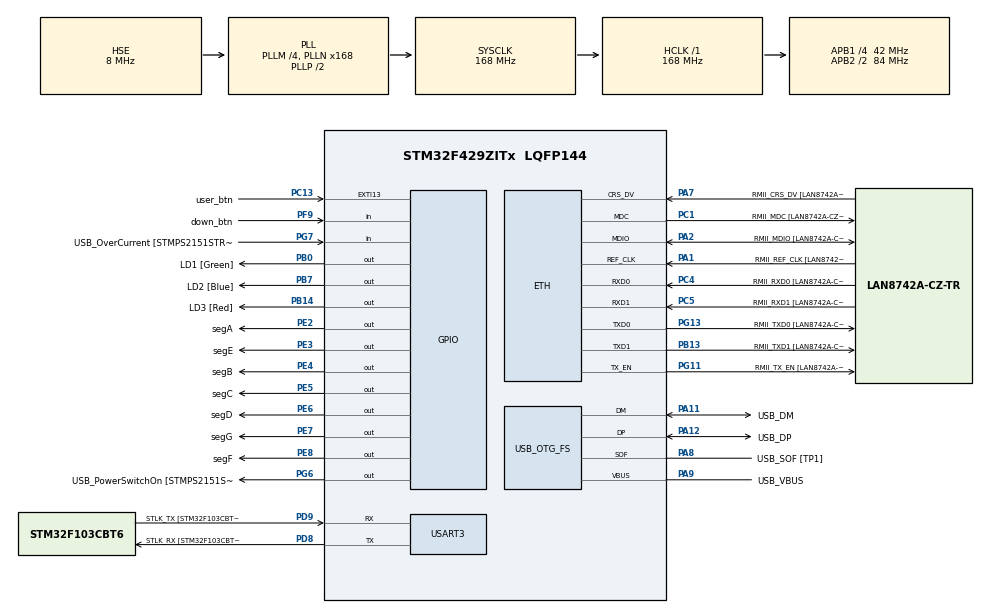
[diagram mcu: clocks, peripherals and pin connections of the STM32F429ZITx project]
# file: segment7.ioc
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ETH.MediaInterface=HAL_ETH_RMII_MODE
ETH.PHY_Name=LAN8742A_PHY_ADDRESS
ETH.PHY_Value=0
ETH.PhyAddress=0
Mcu.Family=STM32F4
Mcu.Name=STM32F429ZITx
Mcu.Package=LQFP144
NVIC.PriorityGroup=NVIC_PRIORITYGROUP_4
PA1.GPIO_Label=RMII_REF_CLK [LAN8742A-CZ-TR_REFCLK0]
PA1.Mode=RMII
PA1.Signal=ETH_REF_CLK
PA10.GPIO_Label=USB_ID
PA10.Signal=USB_OTG_FS_ID
PA11.GPIO_Label=USB_DM
PA11.Mode=Device_Only
PA11.Signal=USB_OTG_FS_DM
PA12.GPIO_Label=USB_DP
PA12.Mode=Device_Only
PA12.Signal=USB_OTG_FS_DP
PA13.GPIO_Label=TMS
PA13.Mode=Serial_Wire
PA13.Signal=SYS_JTMS-SWDIO
PA14.GPIO_Label=TCK
PA14.Mode=Serial_Wire
PA14.Signal=SYS_JTCK-SWCLK
PA2.GPIO_Label=RMII_MDIO [LAN8742A-CZ-TR_MDIO]
PA2.Mode=RMII
PA2.Signal=ETH_MDIO
PA7.GPIO_Label=RMII_CRS_DV [LAN8742A-CZ-TR_CRS_DV]
PA7.Mode=RMII
PA7.Signal=ETH_CRS_DV
PA8.GPIO_Label=USB_SOF [TP1]
PA8.Mode=Activate_SOF_FS
PA8.Signal=USB_OTG_FS_SOF
PA9.GPIO_Label=USB_VBUS
PA9.Mode=Activate_VBUS
PA9.Signal=USB_OTG_FS_VBUS
PB0.GPIO_Label=LD1 [Green]
PB0.GPIO_PuPd=GPIO_NOPULL
PB0.Signal=GPIO_Output
PB13.GPIO_Label=RMII_TXD1 [LAN8742A-CZ-TR_TXD1]
PB13.Mode=RMII
PB13.Signal=ETH_TXD1
PB14.GPIO_Label=LD3 [Red]
PB14.Signal=GPIO_Output
PB7.GPIO_Label=LD2 [Blue]
PB7.Signal=GPIO_Output
PC1.GPIO_Label=RMII_MDC [LAN8742A-CZ-TR_MDC]
PC1.Mode=RMII
PC1.Signal=ETH_MDC
PC13.GPIO_Label=user_btn
PC13.Signal=GPXTI13
PC14/OSC32_IN.Mode=LSE-External-Oscillator
PC14/OSC32_IN.Signal=RCC_OSC32_IN
PC15/OSC32_OUT.Mode=LSE-External-Oscillator
PC15/OSC32_OUT.Signal=RCC_OSC32_OUT
PC4.GPIO_Label=RMII_RXD0 [LAN8742A-CZ-TR_RXD0]
PC4.Mode=RMII
PC4.Signal=ETH_RXD0
PC5.GPIO_Label=RMII_RXD1 [LAN8742A-CZ-TR_RXD1]
PC5.Mode=RMII
PC5.Signal=ETH_RXD1
PD8.GPIO_Label=STLK_RX [STM32F103CBT6_PA3]
PD8.Mode=Asynchronous
PD8.Signal=USART3_TX
PD9.GPIO_Label=STLK_TX [STM32F103CBT6_PA2]
PD9.Mode=Asynchronous
PD9.Signal=USART3_RX
PE2.GPIO_Label=segA
PE2.Signal=GPIO_Output
PE3.GPIO_Label=segE
PE3.Signal=GPIO_Output
PE4.GPIO_Label=segB
PE4.Signal=GPIO_Output
PE5.GPIO_Label=segC
PE5.Signal=GPIO_Output
PE6.GPIO_Label=segD
PE6.Signal=GPIO_Output
PE7.GPIO_Label=segG
PE7.Signal=GPIO_Output
PE8.GPIO_Label=segF
PE8.Signal=GPIO_Output
PF9.GPIO_Label=down_btn
PF9.GPIO_PuPd=GPIO_PULLUP
PF9.Signal=GPIO_Input
PG11.GPIO_Label=RMII_TX_EN [LAN8742A-CZ-TR_TXEN]
PG11.Mode=RMII
PG11.Signal=ETH_TX_EN
PG13.GPIO_Label=RMII_TXD0 [LAN8742A-CZ-TR_TXD0]
PG13.Mode=RMII
PG13.Signal=ETH_TXD0
PG6.GPIO_Label=USB_PowerSwitchOn [STMPS2151STR_EN]
PG6.Signal=GPIO_Output
PG7.GPIO_Label=USB_OverCurrent [STMPS2151STR_FAULT]
PG7.Signal=GPIO_Input
PH0/OSC_IN.GPIO_Label=MCO [STM32F103CBT6_PA8]
PH0/OSC_IN.Mode=HSE-External-Clock-Source
PH0/OSC_IN.Signal=RCC_OSC_IN
PH1/OSC_OUT.Mode=HSE-External-Clock-Source
PH1/OSC_OUT.Signal=RCC_OSC_OUT
ProjectManager.HeapSize=0x200
ProjectManager.StackSize=0x400
ProjectManager.TargetToolchain=STM32CubeIDE
RCC.48MHZClocksFreq_Value=48000000
RCC.AHBFreq_Value=168000000
RCC.APB1CLKDivider=RCC_HCLK_DIV4
RCC.APB1Freq_Value=42000000
RCC.APB1TimFreq_Value=84000000
RCC.APB2CLKDivider=RCC_HCLK_DIV2
RCC.APB2Freq_Value=84000000
RCC.APB2TimCLKDivider=2
RCC.APB2TimFreq_Value=168000000
RCC.CortexFreq_Value=168000000
RCC.HCLKFreq_Value=168000000
RCC.HSE_VALUE=8000000
RCC.HSI_VALUE=16000000
RCC.PLLM=4
RCC.PLLMUL=RCC_PLL_MUL9
RCC.PLLN=168
RCC.PLLQ=7
RCC.PRESCALERUSB=RCC_USBCLKSOURCE_PLL_DIV1_5
RCC.SYSCLKFreq_VALUE=168000000
RCC.SYSCLKSource=RCC_SYSCLKSOURCE_PLLCLK
RCC.SYSCLKSourceVirtual=RCC_SYSCLKSOURCE_PLLCLK
RCC.USBFreq_Value=48000000
RCC.VCOOutputFreq_Value=336000000
USART3.VirtualMode=VM_ASYNC
USB_OTG_FS.VirtualMode=Device_Only
board=NUCLEO-F429ZI

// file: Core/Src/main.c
/* USER CODE BEGIN Header */
/**
  ******************************************************************************
  * @file           : main.c
  * @brief          : Main program body
  ******************************************************************************
  * @attention
  *
  * Copyright (c) 2023 STMicroelectronics.
  * All rights reserved.
  *
  * This software is licensed under terms that can be found in the LICENSE file
  * in the root directory of this software component.
  * If no LICENSE file comes with this software, it is provided AS-IS.
  *
  ******************************************************************************
  */
/* USER CODE END Header */
#include "main.h"
#include "string.h"

ETH_TxPacketConfig TxConfig;
ETH_DMADescTypeDef  DMARxDscrTab[ETH_RX_DESC_CNT]; /* Ethernet Rx DMA Descriptors */
ETH_DMADescTypeDef  DMATxDscrTab[ETH_TX_DESC_CNT]; /* Ethernet Tx DMA Descriptors */

ETH_HandleTypeDef heth;

UART_HandleTypeDef huart3;

PCD_HandleTypeDef hpcd_USB_OTG_FS;

void SystemClock_Config(void);
static void MX_GPIO_Init(void);
static void MX_ETH_Init(void);
static void MX_USART3_UART_Init(void);
static void MX_USB_OTG_FS_PCD_Init(void);

int main(void)
{

  /* MCU Configuration--------------------------------------------------------*/

  /* Reset of all peripherals, Initializes the Flash interface and the Systick. */
  HAL_Init();

  /* Configure the system clock */
  SystemClock_Config();

  /* Initialize all configured peripherals */
  MX_GPIO_Init();
  MX_ETH_Init();
  MX_USART3_UART_Init();
  MX_USB_OTG_FS_PCD_Init();

  /* Infinite loop */
  /* USER CODE BEGIN WHILE */

//  const int numberCode[10][8]={{1,1,0,0,0,0,0,0}, //0
//							  {1,1,1,1,1,0,0,1}, //1
//							  {1,0,1,0,0,1,0,0}, //2
//							  {1,0,1,1,0,0,0,0}, //3
//							  {1,0,0,1,1,0,0,1}, //4
//							  {1,0,0,1,0,0,1,0}, //5
//							  {1,0,0,0,0,0,1,0}, //6
//							  {1,1,0,1,1,0,0,0}, //7
//							  {1,0,0,0,0,0,0,0}, //8
//							  {1,0,0,1,0,0,0,0}}; //9
	const int number0x[10] = {0x0080, 0xffcf, 0xff23, 0x0108, 0x004c, 0x0018, 0x0010, 0x01c8, 0x0000, 0x0008};
	int count = 0;
	GPIOE -> ODR = number0x[0];

  while (1)
  {
	  void seg_print(int n) {
		  GPIOE -> ODR = number0x[n];
//		  HAL_GPIO_WritePin(GPIOE, segG_Pin, numberCode[n][1]);
//		  HAL_GPIO_WritePin(GPIOE, segF_Pin, numberCode[n][2]);
//		  HAL_GPIO_WritePin(GPIOE, segE_Pin, numberCode[n][3]);
//		  HAL_GPIO_WritePin(GPIOE, segD_Pin, numberCode[n][4]);
//		  HAL_GPIO_WritePin(GPIOE, segC_Pin, numberCode[n][5]);
//		  HAL_GPIO_WritePin(GPIOE, segB_Pin, numberCode[n][6]);
//		  HAL_GPIO_WritePin(GPIOE, segA_Pin, numberCode[n][7]);
	  }
	  if (HAL_GPIO_ReadPin(GPIOC, user_btn_Pin) == GPIO_PIN_SET) {
		  count++;
		  if (count==10) count=0;
		  seg_print(count);
		  HAL_Delay(200);
	  }
	  if (HAL_GPIO_ReadPin(GPIOF, down_btn_Pin) == 0) {
		  count--;
		  if (count==-1) count=9;
		  seg_print(count);
		  HAL_Delay(200);
	  }

    /* USER CODE END WHILE */

  }
}

void SystemClock_Config(void)
{
  RCC_OscInitTypeDef RCC_OscInitStruct = {0};
  RCC_ClkInitTypeDef RCC_ClkInitStruct = {0};

  /** Configure the main internal regulator output voltage
  */
  __HAL_RCC_PWR_CLK_ENABLE();
  __HAL_PWR_VOLTAGESCALING_CONFIG(PWR_REGULATOR_VOLTAGE_SCALE1);

  /** Initializes the RCC Oscillators according to the specified parameters
  * in the RCC_OscInitTypeDef structure.
  */
  RCC_OscInitStruct.OscillatorType = RCC_OSCILLATORTYPE_HSE;
  RCC_OscInitStruct.HSEState = RCC_HSE_BYPASS;
  RCC_OscInitStruct.PLL.PLLState = RCC_PLL_ON;
  RCC_OscInitStruct.PLL.PLLSource = RCC_PLLSOURCE_HSE;
  RCC_OscInitStruct.PLL.PLLM = 4;
  RCC_OscInitStruct.PLL.PLLN = 168;
  RCC_OscInitStruct.PLL.PLLP = RCC_PLLP_DIV2;
  RCC_OscInitStruct.PLL.PLLQ = 7;
  if (HAL_RCC_OscConfig(&RCC_OscInitStruct) != HAL_OK)
  {
    Error_Handler();
  }

  /** Initializes the CPU, AHB and APB buses clocks
  */
  RCC_ClkInitStruct.ClockType = RCC_CLOCKTYPE_HCLK|RCC_CLOCKTYPE_SYSCLK
                              |RCC_CLOCKTYPE_PCLK1|RCC_CLOCKTYPE_PCLK2;
  RCC_ClkInitStruct.SYSCLKSource = RCC_SYSCLKSOURCE_PLLCLK;
  RCC_ClkInitStruct.AHBCLKDivider = RCC_SYSCLK_DIV1;
  RCC_ClkInitStruct.APB1CLKDivider = RCC_HCLK_DIV4;
  RCC_ClkInitStruct.APB2CLKDivider = RCC_HCLK_DIV2;

  if (HAL_RCC_ClockConfig(&RCC_ClkInitStruct, FLASH_LATENCY_5) != HAL_OK)
  {
    Error_Handler();
  }
}

static void MX_ETH_Init(void)
{

   static uint8_t MACAddr[6];

  heth.Instance = ETH;
  MACAddr[0] = 0x00;
  MACAddr[1] = 0x80;
  MACAddr[2] = 0xE1;
  MACAddr[3] = 0x00;
  MACAddr[4] = 0x00;
  MACAddr[5] = 0x00;
  heth.Init.MACAddr = &MACAddr[0];
  heth.Init.MediaInterface = HAL_ETH_RMII_MODE;
  heth.Init.TxDesc = DMATxDscrTab;
  heth.Init.RxDesc = DMARxDscrTab;
  heth.Init.RxBuffLen = 1524;

  if (HAL_ETH_Init(&heth) != HAL_OK)
  {
    Error_Handler();
  }

  memset(&TxConfig, 0 , sizeof(ETH_TxPacketConfig));
  TxConfig.Attributes = ETH_TX_PACKETS_FEATURES_CSUM | ETH_TX_PACKETS_FEATURES_CRCPAD;
  TxConfig.ChecksumCtrl = ETH_CHECKSUM_IPHDR_PAYLOAD_INSERT_PHDR_CALC;
  TxConfig.CRCPadCtrl = ETH_CRC_PAD_INSERT;

}

static void MX_USART3_UART_Init(void)
{

  huart3.Instance = USART3;
  huart3.Init.BaudRate = 115200;
  huart3.Init.WordLength = UART_WORDLENGTH_8B;
  huart3.Init.StopBits = UART_STOPBITS_1;
  huart3.Init.Parity = UART_PARITY_NONE;
  huart3.Init.Mode = UART_MODE_TX_RX;
  huart3.Init.HwFlowCtl = UART_HWCONTROL_NONE;
  huart3.Init.OverSampling = UART_OVERSAMPLING_16;
  if (HAL_UART_Init(&huart3) != HAL_OK)
  {
    Error_Handler();
  }

}

static void MX_USB_OTG_FS_PCD_Init(void)
{

  hpcd_USB_OTG_FS.Instance = USB_OTG_FS;
  hpcd_USB_OTG_FS.Init.dev_endpoints = 4;
  hpcd_USB_OTG_FS.Init.speed = PCD_SPEED_FULL;
  hpcd_USB_OTG_FS.Init.dma_enable = DISABLE;
  hpcd_USB_OTG_FS.Init.phy_itface = PCD_PHY_EMBEDDED;
  hpcd_USB_OTG_FS.Init.Sof_enable = ENABLE;
  hpcd_USB_OTG_FS.Init.low_power_enable = DISABLE;
  hpcd_USB_OTG_FS.Init.lpm_enable = DISABLE;
  hpcd_USB_OTG_FS.Init.vbus_sensing_enable = ENABLE;
  hpcd_USB_OTG_FS.Init.use_dedicated_ep1 = DISABLE;
  if (HAL_PCD_Init(&hpcd_USB_OTG_FS) != HAL_OK)
  {
    Error_Handler();
  }

}

static void MX_GPIO_Init(void)
{
  GPIO_InitTypeDef GPIO_InitStruct = {0};

  /* GPIO Ports Clock Enable */
  __HAL_RCC_GPIOE_CLK_ENABLE();
  __HAL_RCC_GPIOC_CLK_ENABLE();
  __HAL_RCC_GPIOF_CLK_ENABLE();
  __HAL_RCC_GPIOH_CLK_ENABLE();
  __HAL_RCC_GPIOA_CLK_ENABLE();
  __HAL_RCC_GPIOB_CLK_ENABLE();
  __HAL_RCC_GPIOD_CLK_ENABLE();
  __HAL_RCC_GPIOG_CLK_ENABLE();

  /*Configure GPIO pin Output Level */
  HAL_GPIO_WritePin(GPIOE, segA_Pin|segE_Pin|segB_Pin|segC_Pin
                          |segD_Pin|segG_Pin|segF_Pin, GPIO_PIN_RESET);

  /*Configure GPIO pin Output Level */
  HAL_GPIO_WritePin(GPIOB, LD1_Pin|LD3_Pin|LD2_Pin, GPIO_PIN_RESET);

  /*Configure GPIO pin Output Level */
  HAL_GPIO_WritePin(USB_PowerSwitchOn_GPIO_Port, USB_PowerSwitchOn_Pin, GPIO_PIN_RESET);

  /*Configure GPIO pins : segA_Pin segE_Pin segB_Pin segC_Pin
                           segD_Pin segG_Pin segF_Pin */
  GPIO_InitStruct.Pin = segA_Pin|segE_Pin|segB_Pin|segC_Pin
                          |segD_Pin|segG_Pin|segF_Pin;
  GPIO_InitStruct.Mode = GPIO_MODE_OUTPUT_PP;
  GPIO_InitStruct.Pull = GPIO_NOPULL;
  GPIO_InitStruct.Speed = GPIO_SPEED_FREQ_LOW;
  HAL_GPIO_Init(GPIOE, &GPIO_InitStruct);

  /*Configure GPIO pin : user_btn_Pin */
  GPIO_InitStruct.Pin = user_btn_Pin;
  GPIO_InitStruct.Mode = GPIO_MODE_IT_RISING;
  GPIO_InitStruct.Pull = GPIO_NOPULL;
  HAL_GPIO_Init(user_btn_GPIO_Port, &GPIO_InitStruct);

  /*Configure GPIO pin : down_btn_Pin */
  GPIO_InitStruct.Pin = down_btn_Pin;
  GPIO_InitStruct.Mode = GPIO_MODE_INPUT;
  GPIO_InitStruct.Pull = GPIO_PULLUP;
  HAL_GPIO_Init(down_btn_GPIO_Port, &GPIO_InitStruct);

  /*Configure GPIO pins : LD1_Pin LD3_Pin LD2_Pin */
  GPIO_InitStruct.Pin = LD1_Pin|LD3_Pin|LD2_Pin;
  GPIO_InitStruct.Mode = GPIO_MODE_OUTPUT_PP;
  GPIO_InitStruct.Pull = GPIO_NOPULL;
  GPIO_InitStruct.Speed = GPIO_SPEED_FREQ_LOW;
  HAL_GPIO_Init(GPIOB, &GPIO_InitStruct);

  /*Configure GPIO pin : USB_PowerSwitchOn_Pin */
  GPIO_InitStruct.Pin = USB_PowerSwitchOn_Pin;
  GPIO_InitStruct.Mode = GPIO_MODE_OUTPUT_PP;
  GPIO_InitStruct.Pull = GPIO_NOPULL;
  GPIO_InitStruct.Speed = GPIO_SPEED_FREQ_LOW;
  HAL_GPIO_Init(USB_PowerSwitchOn_GPIO_Port, &GPIO_InitStruct);

  /*Configure GPIO pin : USB_OverCurrent_Pin */
  GPIO_InitStruct.Pin = USB_OverCurrent_Pin;
  GPIO_InitStruct.Mode = GPIO_MODE_INPUT;
  GPIO_InitStruct.Pull = GPIO_NOPULL;
  HAL_GPIO_Init(USB_OverCurrent_GPIO_Port, &GPIO_InitStruct);

}

void Error_Handler(void)
{
  __disable_irq();
  while (1)
  {
  }
}
